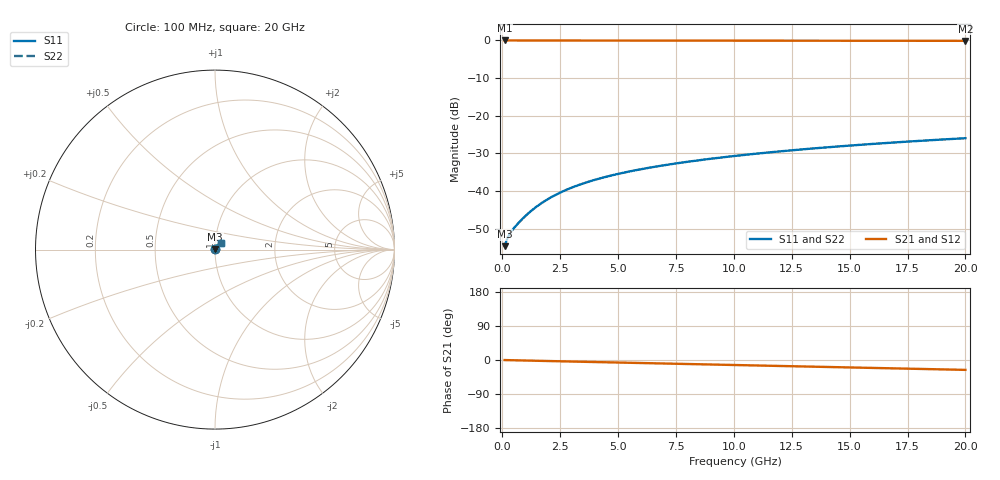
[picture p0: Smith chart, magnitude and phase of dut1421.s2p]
! Touchstone file exported from HFSS 2026.1.0
!  File:  C:/ffzhzh/LocalFiles/Ansys_Project_Files/temp_train_BSMRDL_1421_1783180220_55132.aedt
!  Generated:  11:51:28 PM Jul  4, 2026
!  Design:  BSMRDL
!  Project:  temp_train_BSMRDL_1421_1783180220_55132
! Variables:
!  h_bsmrdl = 4.98um
!  h_ox = 20um
!  h_rdl = 5um
!  h_sub = 80um
!  h_tmrdl = 5um
!  h_tsv = 80um
!  h_via = 3um
!  l_bsmrdl = 459.04um
!  l_sub = 859.04um
!  l_tmrdl = 200um
!  m_sub = 200um
!  pitch = 28.42um
!  r_tsv = 6um
!  s_tmrdl = 10um
!  w_bsmrdl = 21.92um
!  w_sub = 500um
!  w_tmrdl = 12um
!  x_tsv_center1 = 206um
!  x_tsv_center2 = 686.96um
!  x_tsv_center3 = 898.96um
!  x_tsv_center4 = 1379.92um
!  x_tsv_center5 = 1591.92um
!  x_tsv_center6 = 2072.88um
# GHz S MA R 50.000000
! Terminal data exported
! Port[1] = BSM_RDL1_1_T1
! Port[2] = BSM_RDL1_1_T2
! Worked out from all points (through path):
!   200 points, 100 MHz to 20 GHz, reference 50 ohm
!   highest |S21| = -0.01 dB at 100 MHz (marker M1); lowest = -0.1 dB at 20 GHz (marker M2)
!   group delay of S21, straight-line fit = 3.6 ps
!   lowest |S11| = -54.7 dB at 100 MHz (marker M3), VSWR 1.00, Z = 50.2 + j0.067 ohm
!   |S11| at or under -10 dB: start of sweep to end of sweep
!   |S22| runs from -54.7 to -26.0 dB; largest |S21 - S12| = 6.2e-15
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0.1  0.001846 21.2  0.9983 -0.2  0.9983 -0.2  0.001846 21.2
! Gamma 0 0 0 0
! Port Impedance 50 0 50 0
0.2  0.002269 30.5  0.9981 -0.3  0.9981 -0.3  0.002269 30.5
0.3  0.002625 35.2  0.9979 -0.4  0.9979 -0.4  0.002624 35.2
0.4  0.002925 38.9  0.9977 -0.6  0.9977 -0.6  0.002923 38.9
0.6  0.003479 45.3  0.9975 -0.8  0.9975 -0.8  0.003477 45.3
0.8  0.004051 50.5  0.9974 -1.1  0.9974 -1.1  0.004049 50.5
1  0.004654 54.5  0.9973 -1.4  0.9973 -1.4  0.004653 54.5
1.3  0.005602 58.6  0.9972 -1.8  0.9972 -1.8  0.005602 58.7
1.8  0.007233 62.5  0.9969 -2.5  0.9969 -2.5  0.007233 62.6
2.3  0.008862 64.3  0.9965 -3.1  0.9965 -3.1  0.008862 64.4
2.9  0.01077 65.2  0.9961 -3.9  0.9961 -3.9  0.01077 65.2
3.5  0.01259 65.3  0.9956 -4.7  0.9956 -4.7  0.01259 65.3
4.2  0.01463 65.0  0.9951 -5.7  0.9951 -5.7  0.01463 65.0
5  0.01684 64.4  0.9944 -6.7  0.9944 -6.7  0.01684 64.5
5.8  0.01895 63.8  0.9938 -7.8  0.9938 -7.8  0.01895 63.9
6.8  0.02148 63.0  0.9932 -9.1  0.9932 -9.1  0.02148 63.0
8.3  0.02512 61.7  0.9922 -11.0  0.9922 -11.0  0.02511 61.8
10.1  0.02931 60.2  0.9912 -13.3  0.9912 -13.3  0.0293 60.3
11.7  0.03291 58.8  0.9905 -15.4  0.9905 -15.4  0.0329 58.8
13.4  0.03664 57.2  0.9897 -17.6  0.9897 -17.6  0.03663 57.3
16.7  0.0436 53.9  0.9882 -21.8  0.9882 -21.8  0.04358 54.1
20  0.05019 50.5  0.9868 -26.1  0.9868 -26.1  0.05017 50.6
